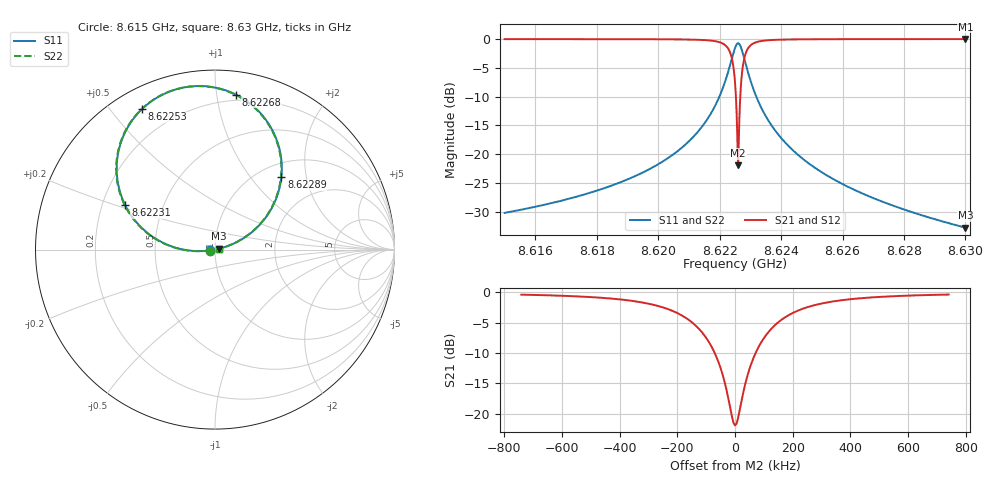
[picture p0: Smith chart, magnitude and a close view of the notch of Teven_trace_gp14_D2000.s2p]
! Sonnet Data File
! From: emgraph Version : 16.52
! From Project: 171114transmon_trace_brg2
! Data is De-embedded
! Data File Written: 11/14/2017 18:06:48
!< HDATE 11/14/2017 15:42:32
!< MDATE 11/14/2017 15:42:32
!< PARAMS
!< Lj = 15.24
!< Gap = 14.0
!< Width = 10.0
!< Airgap = 6.0
!< Pwidth = 2000.0
!< Dist = 2000.0
!< END PARAMS
# GHZ S MA R 51.90000
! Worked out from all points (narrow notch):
!   3597 points, 8.615 GHz to 8.63 GHz, reference 51.9 ohm
!   highest |S21| = 0.00 dB at 8.63 GHz (marker M1); lowest = -21.9 dB at 8.6226 GHz (marker M2)
!   notch at M2: 21.9 dB deep, 124 kHz wide at half that depth
!   lowest |S11| = -32.8 dB at 8.63 GHz (marker M3), VSWR 1.05, Z = 54.3 + j0.534 ohm
!   |S11| at or under -10 dB: start of sweep to 8.621992 GHz; 8.623192 GHz to end of sweep
!   |S22| runs from -32.8 to -0.7 dB; largest |S21 - S12| = 6.7e-12
!   S11 on the Smith chart (normalised r, x): 8.615 GHz: 0.94, -0.01; 8.62231 GHz: 0.30, +0.21; 8.62253 GHz: 0.09, +0.60; 8.62268 GHz: 0.16, +1.13; 8.62289 GHz: 1.25, +1.44; 8.63 GHz: 1.05, +0.01
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8.615  0.03088 -170.8  0.9995 -80.6  0.9995 -80.6  0.03088 -170.5
!< P1 F=8.615 Eeff=(6.44688234 -2.9785e-5) Z0=(51.7995732 1.19081e-4) R=0.0 C=0.0
!< P2 F=8.615 Eeff=(6.44688234 -2.9785e-5) Z0=(51.7995732 1.19081e-4) R=0.0 C=0.0
8.6175  0.04388 -171.7  0.9989 -81.3  0.9989 -81.3  0.04388 -171.4
8.62  0.08171 -174.0  0.9961 -83.5  0.9961 -83.5  0.08171 -173.7
8.62147  0.1796 179.8  0.9811 -89.2  0.9811 -89.2  0.1796 -179.9
8.62204  0.3392 169.4  0.9303 -98.7  0.9303 -98.7  0.3392 169.7
8.62231  0.5571 153.8  0.7978 -112.7  0.7978 -112.7  0.5571 154.1
8.622485  0.8145 128.7  0.4707 -132.5  0.4707 -132.5  0.8146 129.0
8.6225  0.8367 125.6  0.4225 -134.4  0.4225 -134.4  0.8367 125.9
8.622511  0.8518 123.2  0.3854 -135.6  0.3854 -135.6  0.8518 123.5
8.622515  0.8574 122.3  0.3707 -136.0  0.3707 -136.0  0.8574 122.6
8.622535  0.8817 117.6  0.2964 -137.3  0.2964 -137.3  0.8817 117.9
8.6226  0.9201 101.1  0.07998 -80.8  0.07998 -80.8  0.9201 101.5
8.62264  0.9055 90.8  0.1934 -23.1  0.1934 -23.1  0.9055 91.1
8.622675  0.8711 82.2  0.3302 -20.9  0.3302 -20.9  0.8711 82.5
8.62276  0.7434 64.9  0.5924 -31.2  0.5924 -31.2  0.7434 65.2
8.622895  0.5475 47.5  0.8049 -45.7  0.8049 -45.7  0.5475 47.8
8.6231  0.3667 34.5  0.9175 -57.4  0.9175 -57.4  0.3667 34.8
8.62342  0.2341 25.7  0.9672 -65.3  0.9672 -65.3  0.2341 26.0
8.62408  0.1308 19.1  0.9898 -71.4  0.9898 -71.4  0.1308 19.5
8.625  0.07953 15.9  0.9962 -74.3  0.9962 -74.3  0.07953 16.3
8.6275  0.03688 13.2  0.9992 -76.8  0.9992 -76.8  0.03688 13.6
8.63  0.02298 12.3  0.9997 -77.6  0.9997 -77.6  0.02298 12.7
